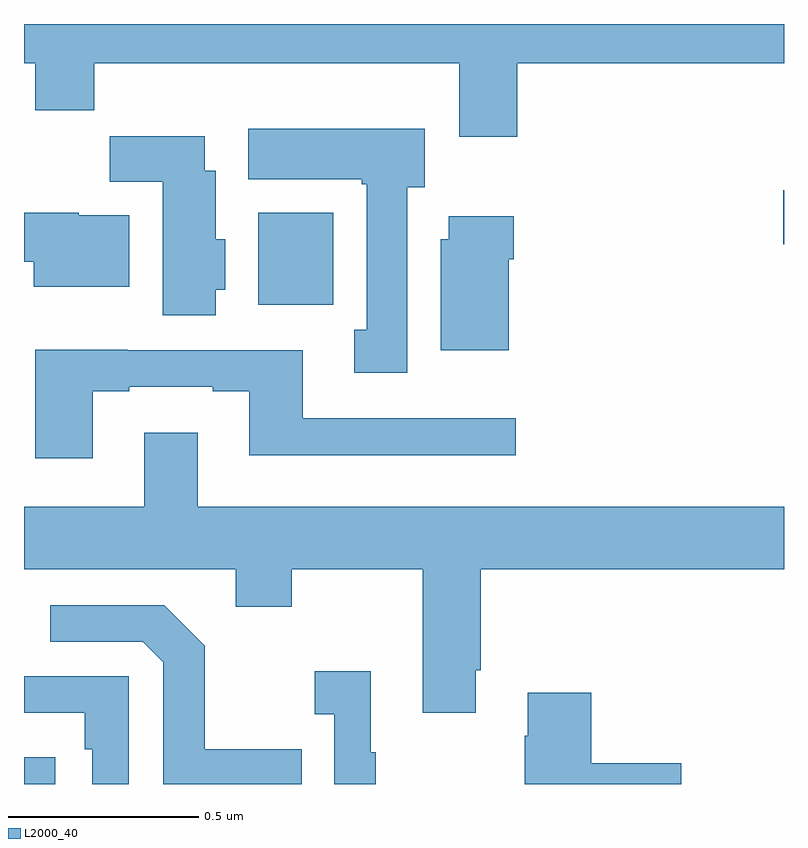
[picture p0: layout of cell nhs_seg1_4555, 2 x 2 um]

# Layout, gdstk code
import gdstk
lib = gdstk.Library(unit=1e-6, precision=1e-09)
def R(c, l, rs):  # rectangles x0, y0, x1, y1
    for r in rs: c.add(gdstk.rectangle(r[:2], r[2:], *l))
def P(c, l, *ps):  # polygons
    for p in ps: c.add(gdstk.Polygon(p, *l))
L2000_40 = (2000, 40)

nhs_seg1_4555 = lib.new_cell('nhs_seg1_4555')
R(nhs_seg1_4555, L2000_40, [(168,519.199,168.082,519.27), (168.617,520.46,168.814,520.702), (169.998,520.619,170,520.761)])
P(nhs_seg1_4555, L2000_40, [(169.298,521.096),(170,521.096),(170,521.199),(168,521.199),(168,521.096),(168.029,521.096),(168.029,520.972),(168.185,520.972),(168.185,521.096),(169.145,521.096),(169.145,520.902),(169.298,520.902)],
  [(169.009,520.77),(169.054,520.77),(169.054,520.924),(168.59,520.924),(168.59,520.79),(168.889,520.79),(168.889,520.777),(168.902,520.777),(168.902,520.394),(168.869,520.394),(168.869,520.281),(169.009,520.281)],
  [(168.505,520.5),(168.529,520.5),(168.529,520.632),(168.505,520.632),(168.505,520.813),(168.475,520.813),(168.475,520.903),(168.226,520.903),(168.226,520.784),(168.365,520.784),(168.365,520.433),(168.505,520.433)],
  [(168.277,520.696),(168.144,520.696),(168.144,520.702),(168,520.702),(168,520.574),(168.026,520.574),(168.026,520.508),(168.277,520.508)],
  [(169.276,520.58),(169.289,520.58),(169.289,520.693),(169.118,520.693),(169.118,520.632),(169.097,520.632),(169.097,520.34),(169.276,520.34)],
  [(168.181,520.233),(168.277,520.233),(168.277,520.245),(168.497,520.245),(168.497,520.233),(168.593,520.233),(168.593,520.064),(169.294,520.064),(169.294,520.161),(168.733,520.161),(168.733,520.341),(168.273,520.341),(168.273,520.342),(168.029,520.342),(168.029,520.056),(168.181,520.056)],
  [(169.189,519.499),(169.202,519.499),(169.202,519.764),(170,519.764),(170,519.928),(168.457,519.928),(168.457,520.123),(168.317,520.123),(168.317,519.928),(168,519.928),(168,519.764),(168.557,519.764),(168.557,519.665),(168.705,519.665),(168.705,519.764),(169.049,519.764),(169.049,519.387),(169.189,519.387)],
  [(168.731,519.291),(168.475,519.291),(168.475,519.563),(168.369,519.669),(168.069,519.669),(168.069,519.573),(168.312,519.573),(168.366,519.519),(168.366,519.199),(168.731,519.199)],
  [(168.925,519.283),(168.913,519.283),(168.913,519.496),(168.765,519.496),(168.765,519.383),(168.816,519.383),(168.816,519.199),(168.925,519.199)],
  [(168.276,519.483),(168,519.483),(168,519.387),(168.16,519.387),(168.16,519.29),(168.18,519.29),(168.18,519.199),(168.276,519.199)],
  [(169.729,519.254),(169.493,519.254),(169.493,519.439),(169.325,519.439),(169.325,519.326),(169.318,519.326),(169.318,519.199),(169.729,519.199)])

lib.write_gds('nhs_seg1_4555.gds')
